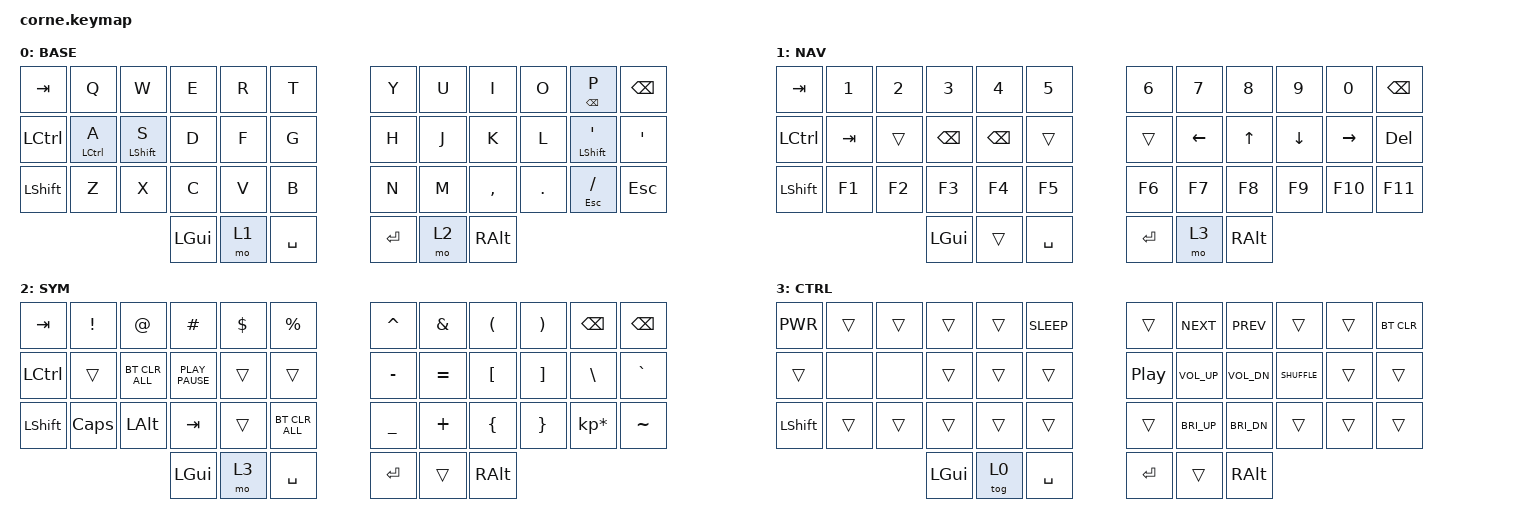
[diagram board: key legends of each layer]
/*
 * Copyright (c) 2020 The ZMK Contributors
 *
 * SPDX-License-Identifier: MIT
 */
// Keymap Author: Vespertine1122 [https://github.com/Vespertine112]

#include <behaviors.dtsi>
#include <dt-bindings/zmk/bt.h>
#include <dt-bindings/zmk/keys.h>

/*
 * define the layer schema
 */

#define BASE 0
#define NAV 1
#define SYM 2
#define CTRL 3
#define GAME 4

/*
 * Keymap & macros
 */

/ {
    behaviors {
        ht_hp: positional_hold_tap {
            compatible = "zmk,behavior-hold-tap";
            label = "POSITIONAL_HOLD_TAP";
            label = "HOLD_TAP_HOLD_PRESS";
            #binding-cells = <2>;
            tapping_term_ms = <700>;
            quick_tap_ms = <0>;
            flavor = "tap-preferred";
            bindings = <&kp>, <&kp>;
        };
    };

    combos {
        compatible = "zmk,combos";

        alttab {
            bindings = <&kp LA(TAB)>;
            key-positions = <0 41>;
            require-prior-idle-ms = <30>;
        };

        colon {
            bindings = <&kp COLON>;
            key-positions = <25 22>;
            timeout-ms = <10>;
        };
    };

    keymap {
        compatible = "zmk,keymap";

        default_layer {
            // -----------------------------------------------------------------------------------------
            // |  TAB |  Q  |  W  |  E  |  R  |  T  |   |  Y  |  U   |  I  |  O  |  P  | BKSP |
            // | CTRL |  A  |  S  |  D  |  F  |  G  |   |  H  |  J   |  K  |  L  |  ;  |  '   |
            // | SHFT |  Z  |  X  |  C  |  V  |  B  |   |  N  |  M   |  ,  |  .  |  /  | ESC  |
            //                    | GUI | LWR | SPC |   | ENT | RSE  | ALT |

            label = "BASE";
            bindings = <
&kp TAB    &kp Q        &kp W             &kp E     &kp R  &kp T        &kp Y    &kp U  &kp I      &kp O    &ht_hp BACKSPACE P  &kp BSPC
&kp LCTRL  &mt LCTRL A  &mt LEFT_SHIFT S  &kp D     &kp F  &kp G        &kp H    &kp J  &kp K      &kp L    &ht_hp LSHIFT SQT   &kp SQT
&kp LSHFT  &kp Z        &kp X             &kp C     &kp V  &kp B        &kp N    &kp M  &kp COMMA  &kp DOT  &ht_hp ESC FSLH     &kp ESC
                                          &kp LGUI  &mo 1  &kp SPACE    &kp RET  &mo 2  &kp RALT
            >;
        };

        nav_layer {
            // -----------------------------------------------------------------------------------------
            // |  TAB | 1 F1| 2 F2| 3 F3| 4 F4| 5 F5|   | 6 F6| 7 F7| 8 F8| 9 F9| 0 F0| BKSP |
            // | CTRL |     |     |     |     |  F4 |   |     | LEFT| UP  | DWN |RIGHT|  DEL |
            // | SHFT |     |     |     |     |     |   |     |     |     |     |     |      |
            //                    | GUI |     | SPC |   | ENT | CTRL| ALT |

            label = "NAV";
            bindings = <
&kp TAB    &kp N1   &kp N2  &kp N3         &kp N4         &kp N5     &kp N6   &kp N7    &kp N8    &kp N9    &kp N0     &kp BSPC
&kp LCTRL  &kp TAB  &trans  &kp BACKSPACE  &kp BACKSPACE  &trans     &trans   &kp LEFT  &kp UP    &kp DOWN  &kp RIGHT  &kp DEL
&kp LSHFT  &kp F1   &kp F2  &kp F3         &kp F4         &kp F5     &kp F6   &kp F7    &kp F8    &kp F9    &kp F10    &kp F11
                            &kp LGUI       &trans         &kp SPC    &kp RET  &mo 3     &kp RALT
            >;
        };

        sym_layer {
            // -----------------------------------------------------------------------------------------
            // |  TAB |  !  |  @  |  #  |  $  |  %  |   |  ^  |  &  |  *  |  (  |  )  | BKSP |
            // | CTRL |     |     |     |     |     |   |  -  |  =  |  [  |  ]  |  \  |  `   |
            // | SHFT |     |     |     |     |     |   |  _  |  +  |  {  |  }  | "|" |  ~   |
            //                    | GUI |     | SPC |   | ENT |     | ALT |

            label = "SYM";
            bindings = <
&kp TAB    &kp EXCL  &kp AT          &kp HASH          &kp DLLR  &kp PRCNT         &kp CARET  &kp AMPS   &kp LPAR  &kp RPAR  &kp BACKSPACE    &kp BSPC
&kp LCTRL  &trans    &bt BT_CLR_ALL  &kp K_PLAY_PAUSE  &trans    &trans            &kp MINUS  &kp EQUAL  &kp LBKT  &kp RBKT  &kp BSLH         &kp GRAVE
&kp LSHFT  &kp CAPS  &kp LEFT_ALT    &kp TAB           &trans    &bt BT_CLR_ALL    &kp UNDER  &kp PLUS   &kp LBRC  &kp RBRC  &kp KP_ASTERISK  &kp TILDE
                                     &kp LGUI          &mo 3     &kp SPACE         &kp RET    &trans     &kp RALT
            >;
        };

        ctrl_layer {
            // -----------------------------------------------------------------------------------------
            // | PWR  |     |     |     |     | SLP |   |     | NXT | PRV |     |     |      |
            // |BT_CLR| BTB | BTN | mvLT| mvRT|     |   |  PP |VOLU |VOLD |     |     |      |
            // | SHFT |     |     |     |     |     |   |     |BRIU |BRID |     |     |      |
            //                    | GUI |     | SPC |   | ENT |     | ALT |

            label = "CTRL";
            bindings = <
&kp C_PWR  &trans  &trans  &trans    &trans  &kp C_SLEEP    &trans    &kp C_NEXT    &kp C_PREV    &trans         &trans  &bt BT_CLR
&trans     &none   &none   &trans    &trans  &trans         &kp C_PP  &kp C_VOL_UP  &kp C_VOL_DN  &kp C_SHUFFLE  &trans  &trans
&kp LSHFT  &trans  &trans  &trans    &trans  &trans         &trans    &kp C_BRI_UP  &kp C_BRI_DN  &trans         &trans  &trans
                           &kp LGUI  &tog 0  &kp SPACE      &kp RET   &trans        &kp RALT
            >;
        };
    };
};
